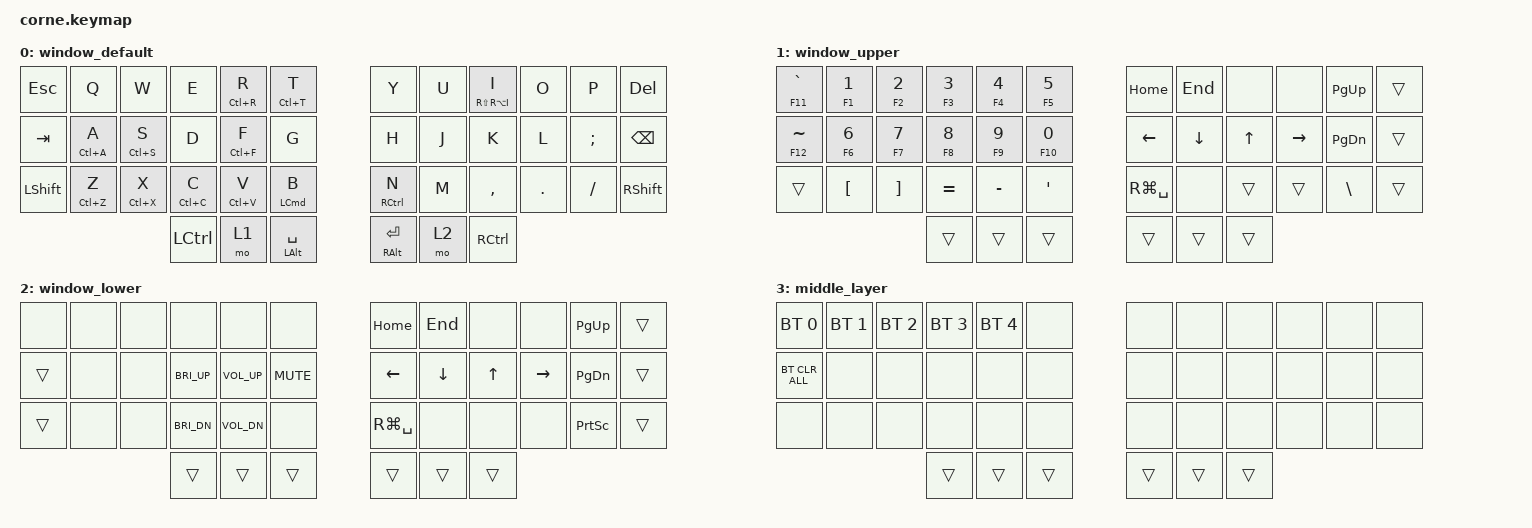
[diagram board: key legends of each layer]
/*
 * Copyright (c) 2020 The ZMK Contributors
 *
 * SPDX-License-Identifier: MIT
 */

#include <behaviors.dtsi>
#include <dt-bindings/zmk/bt.h>
#include <dt-bindings/zmk/keys.h>

&mt {
    flavor = "tap-preferred";
    quick-tap-ms = <175>;
    tapping-term-ms = <280>;
    require-prior-idle-ms = <150>;
};

/ {
    combos {
        compatible = "zmk,combos";

        caps_lock {
            bindings = <&kp CAPSLOCK>;
            key-positions = <12 23>;
            layers = <0>;
        };

        windows {
            bindings = <&kp LEFT_GUI>;
            key-positions = <24 35>;
            layers = <0>;
        };
    };

    keymap {
        compatible = "zmk,keymap";

        window_default {
            bindings = <
&kp ESC    &kp Q        &kp W        &kp E        &mt LC(R) R  &mt LC(T) T       &kp Y           &kp U  &mt RS(RA(I)) I  &kp O    &kp P     &kp DEL
&kp TAB    &mt LC(A) A  &mt LC(S) S  &kp D        &mt LC(F) F  &kp G             &kp H           &kp J  &kp K            &kp L    &kp SEMI  &kp BSPC
&kp LSHFT  &mt LC(Z) Z  &mt LC(X) X  &mt LC(C) C  &mt LC(V) V  &mt LCMD B        &mt RCTRL N     &kp M  &kp COMMA        &kp DOT  &kp FSLH  &kp RSHFT
                                     &kp LCTRL    &mo 1        &mt LALT SPACE    &mt RALT ENTER  &mo 2  &kp RCTRL
            >;
        };

        window_upper {
            bindings = <
&mt F11 GRAVE  &mt F1 N1  &mt F2 N2  &mt F3 N3  &mt F4 N4  &mt F5 N5     &kp HOME       &kp END   &none   &none      &kp PG_UP  &trans
&mt F12 TILDE  &mt F6 N6  &mt F7 N7  &mt F8 N8  &mt F9 N9  &mt F10 N0    &kp LEFT       &kp DOWN  &kp UP  &kp RIGHT  &kp PG_DN  &trans
&trans         &kp LBKT   &kp RBKT   &kp EQUAL  &kp MINUS  &kp SQT       &kp RG(SPACE)  &none     &trans  &trans     &kp BSLH   &trans
                                     &trans     &trans     &trans        &trans         &trans    &trans
            >;
        };

        window_lower {
            bindings = <
&none   &none  &none  &none         &none         &none         &kp HOME       &kp END   &none   &none      &kp PG_UP  &trans
&trans  &none  &none  &kp C_BRI_UP  &kp C_VOL_UP  &kp C_MUTE    &kp LEFT       &kp DOWN  &kp UP  &kp RIGHT  &kp PG_DN  &trans
&trans  &none  &none  &kp C_BRI_DN  &kp C_VOL_DN  &none         &kp RG(SPACE)  &none     &none   &none      &kp PSCRN  &trans
                      &trans        &trans        &trans        &trans         &trans    &trans
            >;
        };

        middle_layer {
            bindings = <
&bt BT_SEL 0    &bt BT_SEL 1  &bt BT_SEL 2  &bt BT_SEL 3  &bt BT_SEL 4  &none     &none   &none   &none   &none  &none  &none
&bt BT_CLR_ALL  &none         &none         &none         &none         &none     &none   &none   &none   &none  &none  &none
&none           &none         &none         &none         &none         &none     &none   &none   &none   &none  &none  &none
                                            &trans        &trans        &trans    &trans  &trans  &trans
            >;
        };
    };

    conditional_layers {
        compatible = "zmk,conditional-layers";

        setting_layer {
            if-layers = <1 2>;
            then-layer = <3>;
        };
    };
};
